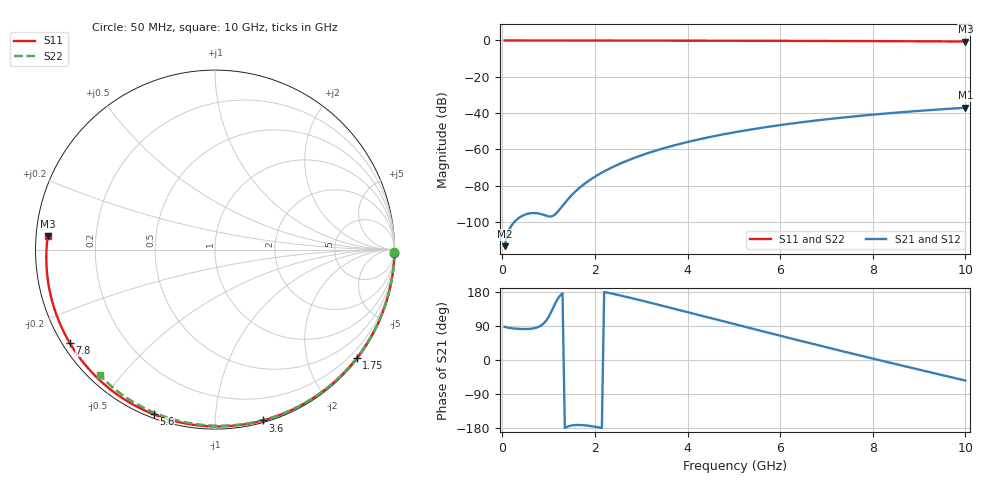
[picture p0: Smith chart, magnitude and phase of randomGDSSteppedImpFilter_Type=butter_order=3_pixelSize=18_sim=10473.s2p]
! freq	dB(S11)	phase(S11)	dB(S12)	phase(S12)
!  dB(S21)	phase(S21)	dB(S22)	phase(S22)
!S-par simulation data
#  GHz  S  DB  R 50
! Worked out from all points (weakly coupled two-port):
!   200 points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, 50 MHz to 10 GHz, reference 50 ohm
!   highest |S21| = -37.05 dB at 10 GHz (marker M1); lowest = -113.2 dB at 50 MHz (marker M2)
!   lowest |S11| = -0.6 dB at 10 GHz (marker M3), VSWR 29.84, Z = 1.68 + j2 ohm
!   |S11| at or under -10 dB: nowhere
!   |S22| runs from -0.4 to 0.0 dB; largest |S21 - S12| = 0
!   S11 on the Smith chart (normalised r, x): 50 MHz: open; 1.75 GHz: 0.03, -2.95; 3.6 GHz: 0.02, -1.32; 5.6 GHz: 0.02, -0.70; 7.8 GHz: 0.02, -0.29; 10 GHz: 0.03, +0.04
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0.05  -0.00 -1.1  -113.23 87.7  -113.23 87.7  -0.00 -0.8
0.45  -0.01 -9.8  -96.31 81.7  -96.31 81.7  -0.01 -6.9
0.85  -0.02 -18.4  -95.68 92.1  -95.68 92.1  -0.02 -13.0
1.25  -0.03 -26.9  -92.62 170.3  -92.62 170.3  -0.02 -19.0
1.7  -0.05 -36.4  -80.43 -171.6  -80.43 -171.6  -0.03 -25.7
1.75  -0.05 -37.4  -79.41 -172.0  -79.41 -172.0  -0.03 -26.4
2.05  -0.06 -43.6  -74.22 -177.0  -74.22 -177.0  -0.04 -30.8
2.25  -0.06 -47.7  -71.38 178.3  -71.38 178.3  -0.04 -33.8
2.45  -0.07 -51.7  -68.89 173.0  -68.89 173.0  -0.05 -36.7
2.9  -0.08 -60.7  -64.18 160.1  -64.18 160.1  -0.06 -43.2
3.4  -0.09 -70.4  -59.98 144.9  -59.98 144.9  -0.07 -50.3
3.6  -0.10 -74.3  -58.52 138.7  -58.52 138.7  -0.07 -53.1
4.3  -0.12 -87.3  -54.14 116.8  -54.14 116.8  -0.09 -62.7
5.05  -0.15 -100.8  -50.39 93.4  -50.39 93.4  -0.11 -72.8
5.6  -0.18 -110.4  -48.08 76.3  -48.08 76.3  -0.13 -79.9
6.15  -0.21 -119.8  -46.06 59.4  -46.06 59.4  -0.15 -86.9
6.7  -0.25 -129.0  -44.28 42.6  -44.28 42.6  -0.18 -93.8
7.25  -0.29 -138.1  -42.71 26.0  -42.71 26.0  -0.21 -100.5
7.8  -0.34 -147.2  -41.31 9.7  -41.31 9.7  -0.25 -107.0
8.35  -0.39 -156.3  -40.06 -6.5  -40.06 -6.5  -0.29 -113.5
9.2  -0.48 -170.7  -38.38 -31.2  -38.38 -31.2  -0.36 -123.3
10  -0.58 175.4  -37.05 -54.2  -37.05 -54.2  -0.45 -132.4
